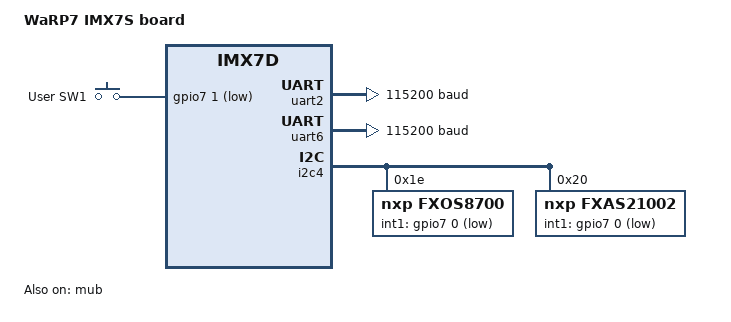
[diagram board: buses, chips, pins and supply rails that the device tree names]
/*
 * Copyright (c) 2018, Diego Sueiro
 *
 * SPDX-License-Identifier: Apache-2.0
 */

/dts-v1/;

#include <nxp/nxp_imx7d_m4.dtsi>

/ {
	model = "WaRP7 IMX7S board";
	compatible = "nxp,mcimx7d_m4";

	aliases {
		sw0    = &user_switch_1;
	};

	chosen {
		zephyr,flash = &tcml_code;
		zephyr,sram = &tcmu_sys;
		zephyr,console = &uart2;
		zephyr,shell-uart = &uart2;
	};

	gpio_keys {
		compatible = "gpio-keys";
		user_switch_1: user_sw_1 {
			gpios = <&gpio7 1 GPIO_ACTIVE_LOW>;
			label = "User SW1";
		};
	};
};

&uart2 {
	status = "okay";
	current-speed = <115200>;
	modem-mode = <0>;
};

&uart6 {
	status = "okay";
	current-speed = <115200>;
	modem-mode = <0>;
};

&gpio7 {
	status = "okay";
};

&i2c4 {
	status = "okay";

	fxos8700@1e {
		compatible = "nxp,fxos8700";
		reg = <0x1e>;
		label = "FXOS8700";
		int1-gpios = <&gpio7 0 GPIO_ACTIVE_LOW>;
	};

	fxas21002@20 {
		compatible = "nxp,fxas21002";
		reg = <0x20>;
		label = "FXAS21002";
		int1-gpios = <&gpio7 0 GPIO_ACTIVE_LOW>;
	};

};

&mub {
	status = "okay";
};
